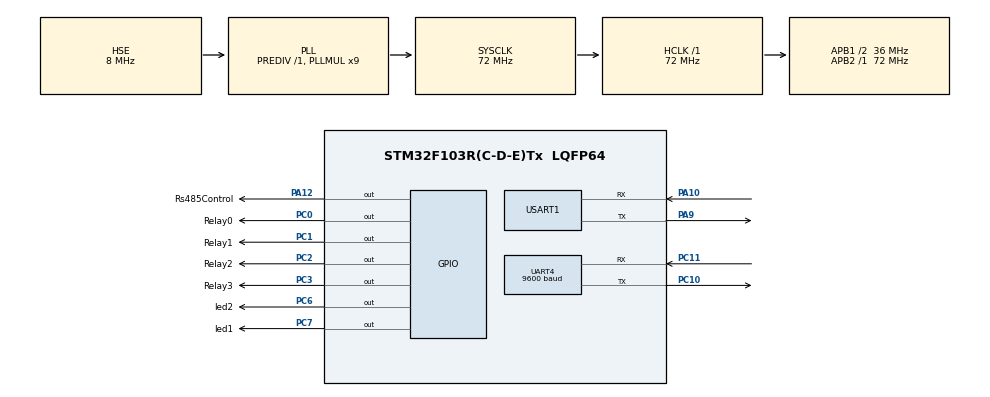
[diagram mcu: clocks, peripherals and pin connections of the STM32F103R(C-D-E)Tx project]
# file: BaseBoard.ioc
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FREERTOS.Tasks01=defaultTask,24,128,StartDefaultTask,Default,NULL,Dynamic,NULL,NULL;modbusTask,8,128,StartModbusTask,Default,NULL,Dynamic,NULL,NULL;EspTask,8,128,StartEspTask,Default,NULL,Dynamic,NULL,NULL
FREERTOS.configUSE_NEWLIB_REENTRANT=1
Mcu.Family=STM32F1
Mcu.Name=STM32F103R(C-D-E)Tx
Mcu.Package=LQFP64
NVIC.PriorityGroup=NVIC_PRIORITYGROUP_4
NVIC.TIM6_IRQn=true\:15\:0\:false\:false\:true\:false\:false\:true\:true
NVIC.TimeBase=TIM6_IRQn
NVIC.TimeBaseIP=TIM6
NVIC.UART4_IRQn=true\:5\:0\:false\:false\:true\:true\:true\:true\:true
PA10.Mode=Asynchronous
PA10.Signal=USART1_RX
PA12.GPIO_Label=Rs485Control
PA12.Signal=GPIO_Output
PA13.Mode=Trace_Asynchronous_SW
PA13.Signal=SYS_JTMS-SWDIO
PA14.Mode=Trace_Asynchronous_SW
PA14.Signal=SYS_JTCK-SWCLK
PA9.Mode=Asynchronous
PA9.Signal=USART1_TX
PB3.Mode=Trace_Asynchronous_SW
PB3.Signal=SYS_JTDO-TRACESWO
PC0.GPIO_Label=Relay0
PC0.Signal=GPIO_Output
PC1.GPIO_Label=Relay1
PC1.Signal=GPIO_Output
PC10.Mode=Asynchronous
PC10.Signal=UART4_TX
PC11.Mode=Asynchronous
PC11.Signal=UART4_RX
PC2.GPIO_Label=Relay2
PC2.Signal=GPIO_Output
PC3.GPIO_Label=Relay3
PC3.Signal=GPIO_Output
PC6.GPIO_Label=led2
PC6.Signal=GPIO_Output
PC7.GPIO_Label=led1
PC7.Signal=GPIO_Output
PD0-OSC_IN.Mode=HSE-External-Oscillator
PD0-OSC_IN.Signal=RCC_OSC_IN
PD1-OSC_OUT.Mode=HSE-External-Oscillator
PD1-OSC_OUT.Signal=RCC_OSC_OUT
ProjectManager.HeapSize=0x200
ProjectManager.StackSize=0x400
ProjectManager.TargetToolchain=STM32CubeIDE
RCC.AHBFreq_Value=72000000
RCC.APB1CLKDivider=RCC_HCLK_DIV2
RCC.APB1Freq_Value=36000000
RCC.APB1TimFreq_Value=72000000
RCC.APB2Freq_Value=72000000
RCC.APB2TimFreq_Value=72000000
RCC.EnbaleCSS=true
RCC.HCLKFreq_Value=72000000
RCC.PLLMUL=RCC_PLL_MUL9
RCC.PLLSourceVirtual=RCC_PLLSOURCE_HSE
RCC.SYSCLKFreq_VALUE=72000000
RCC.SYSCLKSource=RCC_SYSCLKSOURCE_PLLCLK
RCC.USBFreq_Value=72000000
UART4.BaudRate=9600
UART4.VirtualMode=Asynchronous
USART1.VirtualMode=VM_ASYNC
VP_FREERTOS_VS_CMSIS_V2.Mode=CMSIS_V2
VP_SYS_VS_tim6.Mode=TIM6
board=custom

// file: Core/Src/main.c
/* USER CODE BEGIN Header */
/**
  ******************************************************************************
  * @file           : main.c
  * @brief          : Main program body
  ******************************************************************************
  * @attention
  *
  * Copyright (c) 2024 STMicroelectronics.
  * All rights reserved.
  *
  * This software is licensed under terms that can be found in the LICENSE file
  * in the root directory of this software component.
  * If no LICENSE file comes with this software, it is provided AS-IS.
  *
  ******************************************************************************
  */
/* USER CODE END Header */
#include "main.h"
#include "cmsis_os.h"

/* USER CODE BEGIN Includes */
#include "modbus_crc.h"
#include "string.h"
#include "stdio.h"
#include "Esp.h"
/* USER CODE END Includes */

/* USER CODE BEGIN PD */
uint8_t uart4_rx_buffer[100];
uint8_t uart4_tx_buffer[100];
uint8_t TxData[8];

int Data = 0;
//int index = 0;
int fault = 0;
char fault_message[100] = "\0";

ESP_t esp;

/* USER CODE END PD */

UART_HandleTypeDef huart4;
UART_HandleTypeDef huart1;

/* Definitions for defaultTask */
osThreadId_t defaultTaskHandle;
const osThreadAttr_t defaultTask_attributes = {
  .name = "defaultTask",
  .stack_size = 128 * 4,
  .priority = (osPriority_t) osPriorityNormal,
};
/* Definitions for modbusTask */
osThreadId_t modbusTaskHandle;
const osThreadAttr_t modbusTask_attributes = {
  .name = "modbusTask",
  .stack_size = 128 * 4,
  .priority = (osPriority_t) osPriorityLow,
};
/* Definitions for EspTask */
osThreadId_t EspTaskHandle;
const osThreadAttr_t EspTask_attributes = {
  .name = "EspTask",
  .stack_size = 128 * 4,
  .priority = (osPriority_t) osPriorityLow,
};

void SystemClock_Config(void);
static void MX_GPIO_Init(void);
static void MX_UART4_Init(void);
static void MX_USART1_UART_Init(void);
void StartDefaultTask(void *argument);
void StartModbusTask(void *argument);
void StartEspTask(void *argument);

/* USER CODE BEGIN 0 */
void sendData(uint8_t *data);
void Modbus(uint8_t slave, uint8_t function, uint16_t address, uint16_t data);
void RecievedModbusData(uint8_t *RxData);
void Debug_message(const char *src);
/* USER CODE END 0 */

int main(void)
{

  /* MCU Configuration--------------------------------------------------------*/

  /* Reset of all peripherals, Initializes the Flash interface and the Systick. */
  HAL_Init();

  /* Configure the system clock */
  SystemClock_Config();

  /* Initialize all configured peripherals */
  MX_GPIO_Init();
  MX_UART4_Init();
  MX_USART1_UART_Init();
  /* USER CODE BEGIN 2 */
  HAL_UARTEx_ReceiveToIdle_IT(&huart4, uart4_rx_buffer, 32);
  /* USER CODE END 2 */

  /* Init scheduler */
  osKernelInitialize();

  /* Create the thread(s) */
  /* creation of defaultTask */
  defaultTaskHandle = osThreadNew(StartDefaultTask, NULL, &defaultTask_attributes);

  /* creation of modbusTask */
  modbusTaskHandle = osThreadNew(StartModbusTask, NULL, &modbusTask_attributes);

  /* creation of EspTask */
  EspTaskHandle = osThreadNew(StartEspTask, NULL, &EspTask_attributes);

  /* Start scheduler */
  osKernelStart();

  /* We should never get here as control is now taken by the scheduler */

  /* Infinite loop */
  while (1)
  {

  }
}

void SystemClock_Config(void)
{
  RCC_OscInitTypeDef RCC_OscInitStruct = {0};
  RCC_ClkInitTypeDef RCC_ClkInitStruct = {0};

  /** Initializes the RCC Oscillators according to the specified parameters
  * in the RCC_OscInitTypeDef structure.
  */
  RCC_OscInitStruct.OscillatorType = RCC_OSCILLATORTYPE_HSE;
  RCC_OscInitStruct.HSEState = RCC_HSE_ON;
  RCC_OscInitStruct.HSEPredivValue = RCC_HSE_PREDIV_DIV1;
  RCC_OscInitStruct.HSIState = RCC_HSI_ON;
  RCC_OscInitStruct.PLL.PLLState = RCC_PLL_ON;
  RCC_OscInitStruct.PLL.PLLSource = RCC_PLLSOURCE_HSE;
  RCC_OscInitStruct.PLL.PLLMUL = RCC_PLL_MUL9;
  if (HAL_RCC_OscConfig(&RCC_OscInitStruct) != HAL_OK)
  {
    Error_Handler();
  }

  /** Initializes the CPU, AHB and APB buses clocks
  */
  RCC_ClkInitStruct.ClockType = RCC_CLOCKTYPE_HCLK|RCC_CLOCKTYPE_SYSCLK
                              |RCC_CLOCKTYPE_PCLK1|RCC_CLOCKTYPE_PCLK2;
  RCC_ClkInitStruct.SYSCLKSource = RCC_SYSCLKSOURCE_PLLCLK;
  RCC_ClkInitStruct.AHBCLKDivider = RCC_SYSCLK_DIV1;
  RCC_ClkInitStruct.APB1CLKDivider = RCC_HCLK_DIV2;
  RCC_ClkInitStruct.APB2CLKDivider = RCC_HCLK_DIV1;

  if (HAL_RCC_ClockConfig(&RCC_ClkInitStruct, FLASH_LATENCY_2) != HAL_OK)
  {
    Error_Handler();
  }

  /** Enables the Clock Security System
  */
  HAL_RCC_EnableCSS();
}

static void MX_UART4_Init(void)
{

  huart4.Instance = UART4;
  huart4.Init.BaudRate = 115200;
  huart4.Init.WordLength = UART_WORDLENGTH_8B;
  huart4.Init.StopBits = UART_STOPBITS_1;
  huart4.Init.Parity = UART_PARITY_NONE;
  huart4.Init.Mode = UART_MODE_TX_RX;
  huart4.Init.HwFlowCtl = UART_HWCONTROL_NONE;
  huart4.Init.OverSampling = UART_OVERSAMPLING_16;
  if (HAL_UART_Init(&huart4) != HAL_OK)
  {
    Error_Handler();
  }

}

static void MX_USART1_UART_Init(void)
{

  huart1.Instance = USART1;
  huart1.Init.BaudRate = 115200;
  huart1.Init.WordLength = UART_WORDLENGTH_8B;
  huart1.Init.StopBits = UART_STOPBITS_1;
  huart1.Init.Parity = UART_PARITY_NONE;
  huart1.Init.Mode = UART_MODE_TX_RX;
  huart1.Init.HwFlowCtl = UART_HWCONTROL_NONE;
  huart1.Init.OverSampling = UART_OVERSAMPLING_16;
  if (HAL_UART_Init(&huart1) != HAL_OK)
  {
    Error_Handler();
  }

}

static void MX_GPIO_Init(void)
{
  GPIO_InitTypeDef GPIO_InitStruct = {0};

  /* GPIO Ports Clock Enable */
  __HAL_RCC_GPIOD_CLK_ENABLE();
  __HAL_RCC_GPIOC_CLK_ENABLE();
  __HAL_RCC_GPIOA_CLK_ENABLE();
  __HAL_RCC_GPIOB_CLK_ENABLE();

  /*Configure GPIO pin Output Level */
  HAL_GPIO_WritePin(GPIOC, Relay0_Pin|Relay1_Pin|Relay2_Pin|Relay3_Pin
                          |led2_Pin|led1_Pin, GPIO_PIN_RESET);

  /*Configure GPIO pin Output Level */
  HAL_GPIO_WritePin(Rs485Control_GPIO_Port, Rs485Control_Pin, GPIO_PIN_RESET);

  /*Configure GPIO pins : Relay0_Pin Relay1_Pin Relay2_Pin Relay3_Pin
                           led2_Pin led1_Pin */
  GPIO_InitStruct.Pin = Relay0_Pin|Relay1_Pin|Relay2_Pin|Relay3_Pin
                          |led2_Pin|led1_Pin;
  GPIO_InitStruct.Mode = GPIO_MODE_OUTPUT_PP;
  GPIO_InitStruct.Pull = GPIO_NOPULL;
  GPIO_InitStruct.Speed = GPIO_SPEED_FREQ_LOW;
  HAL_GPIO_Init(GPIOC, &GPIO_InitStruct);

  /*Configure GPIO pin : Rs485Control_Pin */
  GPIO_InitStruct.Pin = Rs485Control_Pin;
  GPIO_InitStruct.Mode = GPIO_MODE_OUTPUT_PP;
  GPIO_InitStruct.Pull = GPIO_NOPULL;
  GPIO_InitStruct.Speed = GPIO_SPEED_FREQ_LOW;
  HAL_GPIO_Init(Rs485Control_GPIO_Port, &GPIO_InitStruct);

}

/* USER CODE BEGIN 4 */
void sendData(uint8_t* data) {
	HAL_GPIO_WritePin(Rs485Control_GPIO_Port, Rs485Control_Pin, GPIO_PIN_SET);
	HAL_UART_Transmit(&huart4, TxData, 8, 100);
	HAL_GPIO_WritePin(Rs485Control_GPIO_Port, Rs485Control_Pin, GPIO_PIN_RESET);
}

void HAL_UARTEx_RxEventCallback(UART_HandleTypeDef *huart, uint16_t Size)
{
	if (huart->Instance == UART4) {

		uint16_t crc = crc16(uart4_rx_buffer, Size - 2);

		if (uart4_rx_buffer[Size - 2] != (crc & 0xFF) || uart4_rx_buffer[Size - 1] != ((crc >> 8) & 0xFF)) {
			fault = 1;
			HAL_UARTEx_ReceiveToIdle_IT(&huart4, uart4_rx_buffer, 1000);
			return;
		}

		if (uart4_rx_buffer[4] != 1 || uart4_rx_buffer[6] != 1)
		{
			HAL_UARTEx_ReceiveToIdle_IT(&huart4, uart4_rx_buffer, 1000);
			return;
		}

		esp.WiFi = uart4_rx_buffer[4];
		esp.Mqtt = uart4_rx_buffer[6];
		esp.Time.Hour = uart4_rx_buffer[8];
		esp.Time.Minutes = uart4_rx_buffer[10];
		esp.Date.Day = uart4_rx_buffer[12];
		esp.Outputs.Relay1 = uart4_rx_buffer[14];
		esp.Outputs.Relay2 = uart4_rx_buffer[16];
		esp.D_temp =uart4_rx_buffer[18];

		HAL_UARTEx_ReceiveToIdle_IT(&huart4, uart4_rx_buffer, 1000);

		HAL_GPIO_WritePin(Relay0_GPIO_Port, Relay0_Pin, esp.Outputs.Relay1);

		HAL_GPIO_WritePin(Relay1_GPIO_Port, Relay1_Pin, esp.Outputs.Relay2);

		if (esp.D_temp <= 28)
		{
			HAL_GPIO_WritePin(Relay2_GPIO_Port, Relay2_Pin, GPIO_PIN_SET);
		}else{
			HAL_GPIO_WritePin(Relay2_GPIO_Port, Relay2_Pin, GPIO_PIN_RESET);
		}

	}
}

void Modbus(uint8_t slave, uint8_t function, uint16_t address, uint16_t data) {

	TxData[0] = slave;
	TxData[1] = function;
	TxData[2] = address >> 8;
	TxData[3] = address;
	TxData[4] = data >> 8;
	TxData[5] = data;

	uint16_t crc = crc16(TxData, 6);
	TxData[6] = 0x44;//crc&0xFF;
	TxData[7] = (crc>>8)&0xFF;  // CRC HIGH
	sendData(TxData);
}

void RecievedModbusData(uint8_t *RxData) {
	uint8_t slave = RxData[0];
	uint8_t function = RxData[1];
	char fault_message[100] = "\0";
	uint16_t data = RxData[4] << 8 | RxData[5];

	if (function == 0x03) {
		/*
		Data[0] = RxData[3]<<8 | RxData[4];
		Data[1] = RxData[5]<<8 | RxData[6];
		Data[2] = RxData[7]<<8 | RxData[8];
		Data[3] = RxData[9]<<8 | RxData[10];
	//	Data[4] = RxData[11]<<8 | RxData[12];*/
	}
}

void Debug_message(const char *src) {

	strcpy(fault_message, src);

}
/* USER CODE END 4 */

void StartDefaultTask(void *argument)
{
  /* USER CODE BEGIN 5 */
  /* Infinite loop */
  for(;;)
  {
	  HAL_GPIO_TogglePin(led1_GPIO_Port, led1_Pin);
	  osDelay(200);
	  HAL_GPIO_TogglePin(led2_GPIO_Port, led2_Pin);
	  osDelay(200);

  }
  /* USER CODE END 5 */
}

void StartModbusTask(void *argument)
{
  /* USER CODE BEGIN StartModbusTask */
	Debug_message("Modbus Task Started\n");
  /* Infinite loop */
  for(;;)
  {
    osDelay(1000);
  }
  /* USER CODE END StartModbusTask */
}

void StartEspTask(void *argument)
{
  /* USER CODE BEGIN StartEspTask */
  /* Infinite loop */
  for(;;)
  {
	Modbus(0x01, 0x03, 0x00, 0x08);
    osDelay(1000);
  }
  /* USER CODE END StartEspTask */
}

void HAL_TIM_PeriodElapsedCallback(TIM_HandleTypeDef *htim)
{
  if (htim->Instance == TIM6) {
    HAL_IncTick();
  }
}

void Error_Handler(void)
{
  __disable_irq();
  while (1)
  {
  }
}
